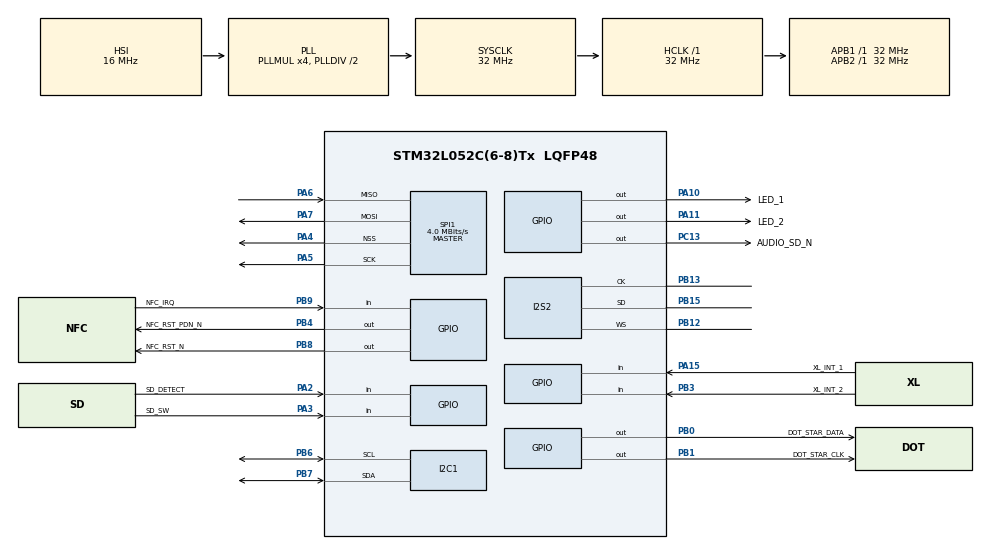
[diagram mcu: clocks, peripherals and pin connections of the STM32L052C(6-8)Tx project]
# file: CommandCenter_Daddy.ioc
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Dma.Request0=SPI2_TX
Dma.Request1=SPI1_RX
Dma.Request2=SPI1_TX
Dma.SPI1_RX.1.Direction=DMA_PERIPH_TO_MEMORY
Dma.SPI1_RX.1.Instance=DMA1_Channel2
Dma.SPI1_RX.1.MemDataAlignment=DMA_MDATAALIGN_BYTE
Dma.SPI1_RX.1.MemInc=DMA_MINC_ENABLE
Dma.SPI1_RX.1.Mode=DMA_NORMAL
Dma.SPI1_RX.1.PeriphDataAlignment=DMA_PDATAALIGN_BYTE
Dma.SPI1_RX.1.PeriphInc=DMA_PINC_DISABLE
Dma.SPI1_RX.1.Priority=DMA_PRIORITY_LOW
Dma.SPI1_TX.2.Direction=DMA_MEMORY_TO_PERIPH
Dma.SPI1_TX.2.Instance=DMA1_Channel3
Dma.SPI1_TX.2.MemDataAlignment=DMA_MDATAALIGN_BYTE
Dma.SPI1_TX.2.MemInc=DMA_MINC_ENABLE
Dma.SPI1_TX.2.Mode=DMA_NORMAL
Dma.SPI1_TX.2.PeriphDataAlignment=DMA_PDATAALIGN_BYTE
Dma.SPI1_TX.2.PeriphInc=DMA_PINC_DISABLE
Dma.SPI1_TX.2.Priority=DMA_PRIORITY_LOW
Dma.SPI2_TX.0.Direction=DMA_MEMORY_TO_PERIPH
Dma.SPI2_TX.0.Instance=DMA1_Channel5
Dma.SPI2_TX.0.MemDataAlignment=DMA_MDATAALIGN_HALFWORD
Dma.SPI2_TX.0.MemInc=DMA_MINC_ENABLE
Dma.SPI2_TX.0.Mode=DMA_NORMAL
Dma.SPI2_TX.0.PeriphDataAlignment=DMA_PDATAALIGN_HALFWORD
Dma.SPI2_TX.0.PeriphInc=DMA_PINC_DISABLE
Dma.SPI2_TX.0.Priority=DMA_PRIORITY_LOW
FATFS._FS_MINIMIZE=1
I2C1.Timing=0x00303D5B
I2S2.AudioFreq=I2S_AUDIOFREQ_44K
I2S2.CPOL=I2S_CPOL_HIGH
I2S2.ErrorAudioFreq=-1.18 %
I2S2.Instance=SPI$Index
I2S2.RealAudioFreq=43.478 KHz
I2S2.Standard=I2S_STANDARD_PHILIPS
I2S2.VirtualMode=I2S_MODE_MASTER
Mcu.Family=STM32L0
Mcu.Name=STM32L052C(6-8)Tx
Mcu.Package=LQFP48
NVIC.DMA1_Channel2_3_IRQn=true\:0\:0\:false\:false\:true\:false
NVIC.DMA1_Channel4_5_6_7_IRQn=true\:0\:0\:false\:false\:true\:false
PA10.GPIO_Label=LED_1
PA10.Signal=GPIO_Output
PA11.GPIO_Label=LED_2
PA11.Signal=GPIO_Output
PA13.Mode=Serial_Wire
PA13.Signal=SYS_SWDIO
PA14.Mode=Serial_Wire
PA14.Signal=SYS_SWCLK
PA15.GPIO_Label=XL_INT_1
PA15.Signal=GPIO_Input
PA2.GPIO_Label=SD_DETECT
PA2.Signal=GPIO_Input
PA3.GPIO_Label=SD_SW
PA3.Signal=GPIO_Input
PA4.Mode=NSS_Signal_Hard_Output
PA4.Signal=SPI1_NSS
PA5.Mode=Full_Duplex_Master
PA5.Signal=SPI1_SCK
PA6.GPIO_PuPd=GPIO_PULLUP
PA6.Mode=Full_Duplex_Master
PA6.Signal=SPI1_MISO
PA7.Mode=Full_Duplex_Master
PA7.Signal=SPI1_MOSI
PB0.GPIO_Label=DOT_STAR_DATA
PB0.Signal=GPIO_Output
PB1.GPIO_Label=DOT_STAR_CLK
PB1.Signal=GPIO_Output
PB12.Mode=Half_Duplex_Master
PB12.Signal=I2S2_WS
PB13.Mode=Half_Duplex_Master
PB13.Signal=I2S2_CK
PB15.Mode=Half_Duplex_Master
PB15.Signal=I2S2_SD
PB3.GPIO_Label=XL_INT_2
PB3.Signal=GPIO_Input
PB4.GPIO_Label=NFC_RST_PDN_N
PB4.GPIO_ModeDefaultOutputPP=GPIO_MODE_OUTPUT_OD
PB4.PinState=GPIO_PIN_SET
PB4.Signal=GPIO_Output
PB6.GPIO_PuPdOD=GPIO_NOPULL
PB6.Mode=I2C
PB6.Signal=I2C1_SCL
PB7.GPIO_PuPdOD=GPIO_NOPULL
PB7.Mode=I2C
PB7.Signal=I2C1_SDA
PB8.GPIO_Label=NFC_RST_N
PB8.Signal=GPIO_Output
PB9.GPIO_Label=NFC_IRQ
PB9.Signal=GPIO_Input
PC13.GPIO_Label=AUDIO_SD_N
PC13.Signal=GPIO_Output
ProjectManager.HeapSize=0x200
ProjectManager.StackSize=0x400
ProjectManager.TargetToolchain=TrueSTUDIO
RCC.AHBFreq_Value=32000000
RCC.APB1Freq_Value=32000000
RCC.APB1TimFreq_Value=32000000
RCC.APB2Freq_Value=32000000
RCC.APB2TimFreq_Value=32000000
RCC.HCLKFreq_Value=32000000
RCC.HSE_VALUE=8000000
RCC.HSI16_VALUE=16000000
RCC.HSI48_VALUE=48000000
RCC.HSI_VALUE=16000000
RCC.I2c1ClockSelection=RCC_I2C1CLKSOURCE_HSI
RCC.LSE_VALUE=32768
RCC.MSI_VALUE=2097000
RCC.PLLMUL=RCC_PLLMUL_4
RCC.SYSCLKFreq_VALUE=32000000
RCC.SYSCLKSource=RCC_SYSCLKSOURCE_PLLCLK
RCC.VCOOutputFreq_Value=64000000
SPI1.BaudRatePrescaler=SPI_BAUDRATEPRESCALER_8
SPI1.CalculateBaudRate=4.0 MBits/s
SPI1.Direction=SPI_DIRECTION_2LINES
SPI1.Mode=SPI_MODE_MASTER
SPI1.VirtualNSS=VM_NSSHARD
SPI1.VirtualType=VM_MASTER
VP_FATFS_VS_Generic.Mode=User_defined
board=NFC_Toy

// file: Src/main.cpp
/**
  ******************************************************************************
  * @file           : mainc
  * @brief          : Main program body
  ******************************************************************************
  * This notice applies to any and all portions of this file
  * that are not between comment pairs USER CODE BEGIN and
  * USER CODE END Other portions of this file, whether
  * inserted by the user or by software development tools
  * are owned by their respective copyright owners
  *
  * Copyright (c) 2018 STMicroelectronics International NV
  * All rights reserved
  *
  * Redistribution and use in source and binary forms, with or without
  * modification, are permitted, provided that the following conditions are met:
  *
  * 1 Redistribution of source code must retain the above copyright notice,
  *    this list of conditions and the following disclaimer
  * 2 Redistributions in binary form must reproduce the above copyright notice,
  *    this list of conditions and the following disclaimer in the documentation
  *    and/or other materials provided with the distribution
  * 3 Neither the name of STMicroelectronics nor the names of other
  *    contributors to this software may be used to endorse or promote products
  *    derived from this software without specific written permission
  * 4 This software, including modifications and/or derivative works of this
  *    software, must execute solely and exclusively on microcontroller or
  *    microprocessor devices manufactured by or for STMicroelectronics
  * 5 Redistribution and use of this software other than as permitted under
  *    this license is void and will automatically terminate your rights under
  *    this license
  *
  * THIS SOFTWARE IS PROVIDED BY STMICROELECTRONICS AND CONTRIBUTORS "AS IS"
  * AND ANY EXPRESS, IMPLIED OR STATUTORY WARRANTIES, INCLUDING, BUT NOT
  * LIMITED TO, THE IMPLIED WARRANTIES OF MERCHANTABILITY, FITNESS FOR A
  * PARTICULAR PURPOSE AND NON-INFRINGEMENT OF THIRD PARTY INTELLECTUAL PROPERTY
  * RIGHTS ARE DISCLAIMED TO THE FULLEST EXTENT PERMITTED BY LAW IN NO EVENT
  * SHALL STMICROELECTRONICS OR CONTRIBUTORS BE LIABLE FOR ANY DIRECT, INDIRECT,
  * INCIDENTAL, SPECIAL, EXEMPLARY, OR CONSEQUENTIAL DAMAGES (INCLUDING, BUT NOT
  * LIMITED TO, PROCUREMENT OF SUBSTITUTE GOODS OR SERVICES; LOSS OF USE, DATA,
  * OR PROFITS; OR BUSINESS INTERRUPTION) HOWEVER CAUSED AND ON ANY THEORY OF
  * LIABILITY, WHETHER IN CONTRACT, STRICT LIABILITY, OR TORT (INCLUDING
  * NEGLIGENCE OR OTHERWISE) ARISING IN ANY WAY OUT OF THE USE OF THIS SOFTWARE,
  * EVEN IF ADVISED OF THE POSSIBILITY OF SUCH DAMAGE
  *
  ******************************************************************************
  */
#include "main.h"
#include "stm32l0xx_hal.h"
#include "dma.h"
#include "diskio.h"
#include "ff.h"
#include "i2c.h"
#include "i2s.h"
#include "spi.h"
#include "gpio.h"
#include "rng.h"
#include "dotstar.hpp"
#include "ring_effects.hpp"
#include "lis3dh.hpp"
#include "wav_player.h"
#include "pn532.h"
#include "tag_ids.hpp"

/* USER CODE BEGIN PV */
/* Private variables ---------------------------------------------------------*/
FATFS FatFs;
/* USER CODE END PV */

void SystemClock_Config(void);

/* USER CODE BEGIN PFP */
/* Private function prototypes -----------------------------------------------*/
/* USER CODE END PFP */

int main(void)
{

  /* MCU Configuration----------------------------------------------------------*/

  /* Reset of all peripherals, Initializes the Flash interface and the Systick */
  HAL_Init();

  /* Configure the system clock */
  SystemClock_Config();

  /* Initialize all configured peripherals */
  MX_GPIO_Init();
  MX_DMA_Init();
  MX_I2C1_Init();
  MX_I2S2_Init();
  MX_SPI1_Init();
  MX_RNG_Init();
  /* USER CODE BEGIN 2 */

  // Setup accelerometer
  LIS3DH accel = LIS3DH();
  accel.begin(0x32);
  accel.writeRegister8(LIS3DH_REG_INT1CFG, 0x2A);
  accel.writeRegister8(LIS3DH_REG_INT1THS, 0xBF);
  accel.writeRegister8(LIS3DH_REG_INT1DUR, 0x30);
  accel.writeRegister8(LIS3DH_REG_CTRL3, 0x40);

  // Setup and initialize Dotstars
  DotStar ring = DotStar(16, DOTSTAR_RBG);
  ring.begin(); // Initialize pins for output
  RGB_VALS rgb_off;
  rgb_off.r = 0; rgb_off.g = 0; rgb_off.b = 0;
  ring_set_all_pixels(ring, rgb_off); // Initialize LEDs to off
  RGB_VALS rgb_default;
  rgb_default.r = 66; rgb_default.g = 244; rgb_default.b = 137;

  // Mount SD Card
  FRESULT fr;     /* FatFs return code */
  HAL_GPIO_WritePin(SD_CS_GPIO_Port, SD_CS_Pin, GPIO_PIN_SET);
  fr = f_mount(&FatFs, "", 1);

  // Setup NFC Reader
  HAL_GPIO_WritePin(NFC_RST_PDN_N_GPIO_Port, NFC_RST_PDN_N_Pin, GPIO_PIN_SET);
  PN532 nfc = PN532();
  nfc.begin();
  nfc.SAMConfig();
  uint8_t nfc_found;
  uint8_t uid[] = { 0, 0, 0, 0, 0, 0, 0 };  // Buffer to store the returned UID
  uint8_t uidLength;                        // Length of the UID (4 or 7 bytes depending on ISO14443A card type)
  struct tag detected_tag;
  uint32_t randtagid = HAL_RNG_GetRandomNumber(&hrng) % num_tags;
  struct tag tag_to_find = tags[randtagid];

  uint8_t sleep_timer = 0;
  uint8_t wait_timer_max = 7;
  uint8_t wait_timer = wait_timer_max-2;
  uint8_t mode = 1;

  /* USER CODE END 2 */

  /* Infinite loop */
  while (1)
  {

    /* USER CODE BEGIN 3 */

    // put system to sleep if no accelerometer activity
    if (sleep_timer == 15) {
      sleep_timer = 0;
      ring_set_all_pixels(ring, rgb_off);
      HAL_GPIO_WritePin(NFC_RST_PDN_N_GPIO_Port, NFC_RST_PDN_N_Pin, GPIO_PIN_RESET);
      HAL_SuspendTick();
      HAL_PWR_EnterSLEEPMode(PWR_LOWPOWERREGULATOR_ON, PWR_SLEEPENTRY_WFI);
      HAL_ResumeTick();
      HAL_GPIO_WritePin(NFC_RST_PDN_N_GPIO_Port, NFC_RST_PDN_N_Pin, GPIO_PIN_SET);
      HAL_Delay(100);
      nfc.begin();
      nfc.SAMConfig();
    } else {
      //sleep_timer++;
    }

    if (mode == 1) {
      if (wait_timer == wait_timer_max) {
        ring.setBrightness(5);
        ring_set_all_pixels(ring, rgb_default);
        play_wav(tag_to_find.wav_file_find);
        ring.setBrightness(20);
        ring_set_all_pixels(ring, rgb_off);
        wait_timer = 0;
      } else {
        wait_timer++;
      }
    }

    // 360 degree ring animation
    ring_loop_animation(ring, 1, rgb_default);

    // Check if NFC Tag present
    nfc_found = nfc.readPassiveTargetID(PN532_MIFARE_ISO14443A, uid, &uidLength, 50);
    if (nfc_found) {
      sleep_timer = 0;
      detected_tag = find_tag(uid);
      if ((mode == 1) && (detected_tag.uid[0] != tag_to_find.uid[0])) {
          ring.setBrightness(5);
          ring_set_all_pixels(ring, rgb_default);
          play_wav("try_again.wav");
          ring.setBrightness(20);
          ring_set_all_pixels(ring, rgb_off);
          wait_timer = 0;
      } else {
        ring_loop_animation(ring, 1, detected_tag.rgb);
        ring.setBrightness(20);
        ring_set_all_pixels(ring, detected_tag.rgb);
        ring.setBrightness(20);
        play_wav(detected_tag.wav_file_found);
        play_wav(detected_tag.wav_file_color);
        ring_set_all_pixels(ring, rgb_off);
        randtagid = HAL_RNG_GetRandomNumber(&hrng) % num_tags;
        tag_to_find = tags[randtagid];
        wait_timer = wait_timer_max-1;
      }
    }

  }
  /* USER CODE END 3 */

}

void SystemClock_Config(void)
{

  RCC_OscInitTypeDef RCC_OscInitStruct;
  RCC_ClkInitTypeDef RCC_ClkInitStruct;
  RCC_PeriphCLKInitTypeDef PeriphClkInit;

    /**Configure the main internal regulator output voltage
    */
  __HAL_PWR_VOLTAGESCALING_CONFIG(PWR_REGULATOR_VOLTAGE_SCALE1);

    /**Initializes the CPU, AHB and APB busses clocks
    */
  RCC_OscInitStruct.OscillatorType = RCC_OSCILLATORTYPE_HSI;
  RCC_OscInitStruct.HSIState = RCC_HSI_ON;
  RCC_OscInitStruct.HSICalibrationValue = 16;
  RCC_OscInitStruct.PLL.PLLState = RCC_PLL_ON;
  RCC_OscInitStruct.PLL.PLLSource = RCC_PLLSOURCE_HSI;
  RCC_OscInitStruct.PLL.PLLMUL = RCC_PLLMUL_4;
  RCC_OscInitStruct.PLL.PLLDIV = RCC_PLLDIV_2;
  if (HAL_RCC_OscConfig(&RCC_OscInitStruct) != HAL_OK)
  {
    _Error_Handler(__FILE__, __LINE__);
  }

    /**Initializes the CPU, AHB and APB busses clocks
    */
  RCC_ClkInitStruct.ClockType = RCC_CLOCKTYPE_HCLK|RCC_CLOCKTYPE_SYSCLK
                              |RCC_CLOCKTYPE_PCLK1|RCC_CLOCKTYPE_PCLK2;
  RCC_ClkInitStruct.SYSCLKSource = RCC_SYSCLKSOURCE_PLLCLK;
  RCC_ClkInitStruct.AHBCLKDivider = RCC_SYSCLK_DIV1;
  RCC_ClkInitStruct.APB1CLKDivider = RCC_HCLK_DIV1;
  RCC_ClkInitStruct.APB2CLKDivider = RCC_HCLK_DIV1;

  if (HAL_RCC_ClockConfig(&RCC_ClkInitStruct, FLASH_LATENCY_1) != HAL_OK)
  {
    _Error_Handler(__FILE__, __LINE__);
  }

  PeriphClkInit.PeriphClockSelection = RCC_PERIPHCLK_I2C1;
  PeriphClkInit.I2c1ClockSelection = RCC_I2C1CLKSOURCE_HSI;
  if (HAL_RCCEx_PeriphCLKConfig(&PeriphClkInit) != HAL_OK)
  {
    _Error_Handler(__FILE__, __LINE__);
  }

    /**Configure the Systick interrupt time
    */
  HAL_SYSTICK_Config(HAL_RCC_GetHCLKFreq()/1000);

    /**Configure the Systick
    */
  HAL_SYSTICK_CLKSourceConfig(SYSTICK_CLKSOURCE_HCLK);

  /* SysTick_IRQn interrupt configuration */
  HAL_NVIC_SetPriority(SysTick_IRQn, 0, 0);
}

void _Error_Handler(char *file, int line)
{
  while(1)
  {
  }
}

/************************ (C) COPYRIGHT STMicroelectronics *****END OF FILE****/
